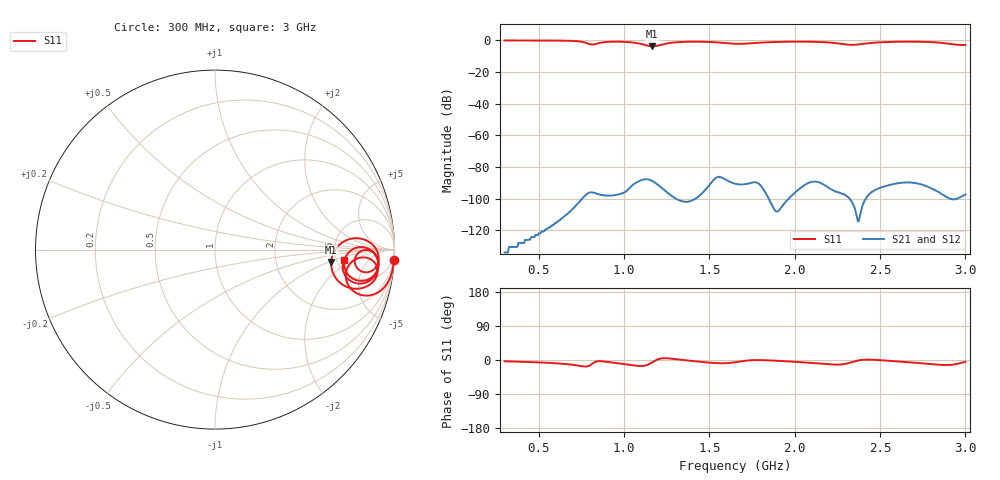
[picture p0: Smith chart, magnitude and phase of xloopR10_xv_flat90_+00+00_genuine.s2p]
! xloopR10_xv_flat90_+00+00_genuine, gap C 0.80 pF
! simulated by sim/fixtures_fdtd.py (S12 = S21, S22 not computed)
# HZ S RI R 50
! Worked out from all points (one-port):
!   541 points, 300 MHz to 3 GHz, reference 50 ohm
!   lowest |S11| = -3.7 dB at 1.165 GHz (marker M1), VSWR 4.73, Z = 223 - j53.8 ohm
!   |S11| at or under -10 dB: nowhere
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3e8  0.9974 -0.0578  -0 -2e-07  -0 -2e-07  0 0
6.4e8  0.9703 -0.1688  -1e-06 -2.3e-06  -1e-06 -2.3e-06  0 0
7.5e8  0.8742 -0.2526  -8.4e-06 -4.3e-06  -8.4e-06 -4.3e-06  0 0
8.05e8  0.7304 -0.1647  -1.39e-05 7.6e-06  -1.39e-05 7.6e-06  0 0
8.5e8  0.8145 -0.0442  -5.5e-06 1.27e-05  -5.5e-06 1.27e-05  0 0
9.5e8  0.9057 -0.1267  2.9e-06 1.27e-05  2.9e-06 1.27e-05  0 0
1.075e9  0.796 -0.2182  3.14e-05 1.06e-05  3.14e-05 1.06e-05  0 0
1.165e9  0.6475 -0.0695  1.4e-06 -3.63e-05  1.4e-06 -3.63e-05  0 0
1.2e9  0.6909 0.0251  -1.6e-05 -2.17e-05  -1.6e-05 -2.17e-05  0 0
1.285e9  0.8513 0.0471  -1.12e-05 3e-06  -1.12e-05 3e-06  0 0
1.375e9  0.9086 -0.0234  -3.4e-06 7.3e-06  -3.4e-06 7.3e-06  0 0
1.545e9  0.8589 -0.1244  4.74e-05 -5.8e-06  4.74e-05 -5.8e-06  0 0
1.65e9  0.7811 -0.0819  -6.4e-06 -2.91e-05  -6.4e-06 -2.91e-05  0 0
1.795e9  0.8504 -0.00297  -2.62e-05 9.6e-06  -2.62e-05 9.6e-06  0 0
2.1e9  0.8999 -0.1237  -2.48e-05 2.32e-05  -2.48e-05 2.32e-05  0 0
2.245e9  0.7974 -0.1727  1.03e-05 1.3e-05  1.03e-05 1.3e-05  0 0
2.33e9  0.72 -0.0784  8.4e-06 2.4e-06  8.4e-06 2.4e-06  0 0
2.415e9  0.7971 0.0127  -3e-06 9.3e-06  -3e-06 9.3e-06  0 0
2.55e9  0.8948 -0.0314  2.15e-05 1.57e-05  2.15e-05 1.57e-05  0 0
2.73e9  0.9004 -0.1285  1.44e-05 -2.56e-05  1.44e-05 -2.56e-05  0 0
2.865e9  0.8137 -0.1894  -4.7e-06 -1.29e-05  -4.7e-06 -1.29e-05  0 0
3e9  0.7185 -0.0593  0 -1.36e-05  0 -1.36e-05  0 0
